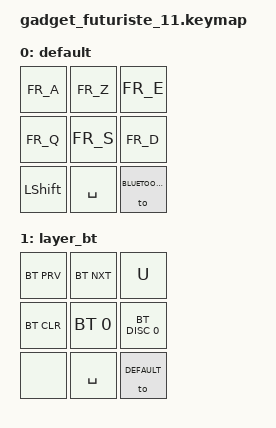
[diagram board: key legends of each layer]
/*
 * Copyright (c) 2020 The ZMK Contributors
 *
 * SPDX-License-Identifier: MIT
 */

#define DEFAULT 0
#define BLUETOOTH 1
#define LAYER_SELECTION 3
#include <behaviors.dtsi>
#include <dt-bindings/zmk/keys.h>
#include <dt-bindings/zmk/bt.h>
#include "french_keymap.h"

&mt {
    tapping-term-ms = <201>;
    flavor = "tap-preferred";
 };
&sk {
     release-after-ms = <2000>;
     quick-release;
 };

/ { 
    // combos {
    //     compatible = "zmk,combos";
    //     combo_to_layer_selection {
    //         timeout-ms = <50>;
    //         key-positions = <0 1>;
    //         bindings = <&sl LAYER_SELECTION>;
    //     };
    //     combo_studio_unlock {
    //         timeout-ms = <50>;
    //         key-positions = <2 4>;
    //         bindings = <&studio_unlock>;
    //     };
    // };
    
    keymap {
        compatible = "zmk,keymap";
            
        default {
            display-name = "default";
            bindings = < 
                &kp FR_A   &kp FR_Z &kp FR_E
                &kp FR_Q  &kp FR_S &kp FR_D
                &kp LSHIFT &kp SPACE &to BLUETOOTH
            >;
        };
        layer_bluetooth {
            display-name = "layer_bt";
            bindings = < 
                &bt BT_PRV &bt BT_NXT &kp U
                &bt BT_CLR &bt BT_SEL 0 &bt BT_DISC 0
                &none &kp SPACE &to DEFAULT
            >;
        };
        // layer_2 {
        //     display-name = "layer_3";
        //     bindings = < 
        //         &kp FR_T &kp FR_U
        //         &kp LSHIFT &kp FR_Y &kp FR_I
        //     >;
        // };
        // layer_selection {
        //     display-name = "layer_selection";
        //     bindings = < 
        //         &to 2   &trans
        //         &to DEFAULT     &trans &to BLUETOOTH
        //     >;
        // };
    };
};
